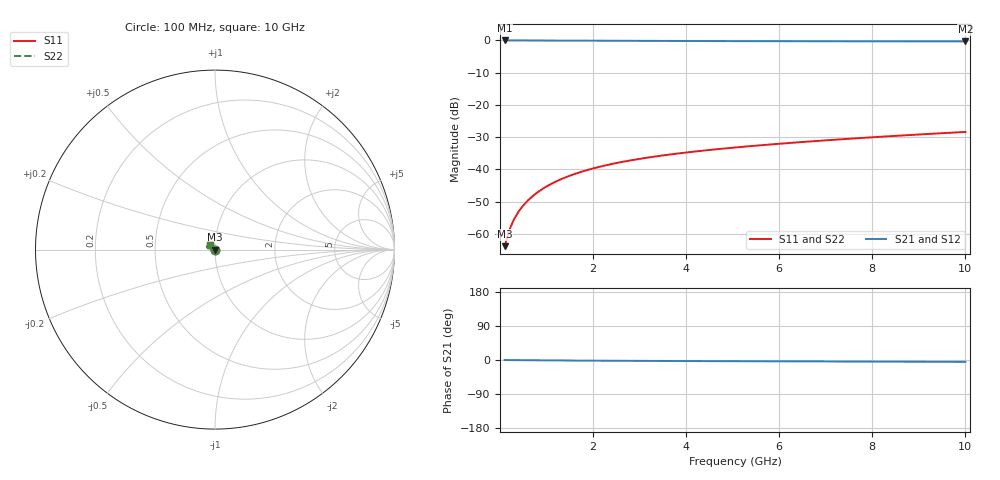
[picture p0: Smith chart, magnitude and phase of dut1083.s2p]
! Touchstone file exported from HFSS 2024.1.0
!  File:  C:/UserFiles/LocalFiles/RDL_TSV_Batchsim/temp_TSV1_1083_1780065704.aedt
!  Generated:  10:47:15 PM May 29, 2026
!  Design:  TSV1
!  Project:  temp_TSV1_1083_1780065704
!  Setup:  Setup1
!  Solution:  Sweep
! Variables:
!  dtsv = 6.2um
!  hbump = 3um
!  htsv = 70.41um
!  lrdl = 252.1521522um
!  p = 40
!  p1 = 55.9um
!  t = 500um
!  trdl = 3um
!  wrdl = 24.89489489um
# GHz S MA R 50.000000
! Terminal data exported
! Port[1] = TSV22_T1
! Port[2] = TSV22_T2
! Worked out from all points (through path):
!   100 points, 100 MHz to 10 GHz, reference 50 ohm
!   highest |S21| = 0.00 dB at 100 MHz (marker M1); lowest = -0.3 dB at 10 GHz (marker M2)
!   lowest |S11| = -63.8 dB at 100 MHz (marker M3), VSWR 1.00, Z = 50 - j0.0563 ohm
!   |S11| at or under -10 dB: start of sweep to end of sweep
!   |S22| runs from -63.8 to -28.4 dB; largest |S21 - S12| = 3.5e-15
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0.1  0.0006451 -60.7  0.9996 -0.1  0.9996 -0.1  0.0006451 -60.7
! Gamma 0 0 0 0
! Port Impedance 50 0 50 0
0.2  0.001147 -77.9  0.9995 -0.2  0.9995 -0.2  0.001147 -77.9
0.3  0.001677 -86.1  0.9994 -0.3  0.9994 -0.3  0.001677 -86.1
0.4  0.002216 -91.6  0.9992 -0.4  0.9992 -0.4  0.002216 -91.6
0.5  0.002757 -95.9  0.999 -0.5  0.999 -0.5  0.002757 -95.9
0.6  0.003298 -99.6  0.9987 -0.6  0.9987 -0.6  0.003298 -99.6
0.7  0.003838 -102.9  0.9984 -0.7  0.9984 -0.7  0.003838 -102.9
0.8  0.004374 -105.9  0.998 -0.8  0.998 -0.8  0.004374 -105.9
0.9  0.004907 -108.8  0.9976 -0.9  0.9976 -0.9  0.004907 -108.8
1.1  0.005957 -114.3  0.9967 -1.0  0.9967 -1.0  0.005957 -114.3
1.4  0.007485 -121.9  0.9952 -1.3  0.9952 -1.3  0.007486 -121.9
1.6  0.00847 -126.6  0.9941 -1.4  0.9941 -1.4  0.00847 -126.6
1.8  0.009425 -131.2  0.9929 -1.6  0.9929 -1.6  0.009425 -131.2
2.1  0.0108 -137.7  0.9911 -1.8  0.9911 -1.8  0.0108 -137.7
2.5  0.01254 -145.8  0.9887 -2.0  0.9887 -2.0  0.01254 -145.8
2.9  0.01418 -153.2  0.9863 -2.2  0.9863 -2.2  0.01418 -153.2
3.4  0.0161 -161.7  0.9835 -2.5  0.9835 -2.5  0.0161 -161.7
4.2  0.01898 -173.6  0.9796 -2.8  0.9796 -2.8  0.01898 -173.6
5.1  0.02203 175.2  0.9762 -3.2  0.9762 -3.2  0.02203 175.2
6.7  0.02725 159.6  0.9717 -3.8  0.9717 -3.8  0.02725 159.6
8.4  0.0328 147.4  0.9686 -4.4  0.9686 -4.4  0.0328 147.4
10  0.03812 138.7  0.9664 -5.0  0.9664 -5.0  0.03812 138.7
